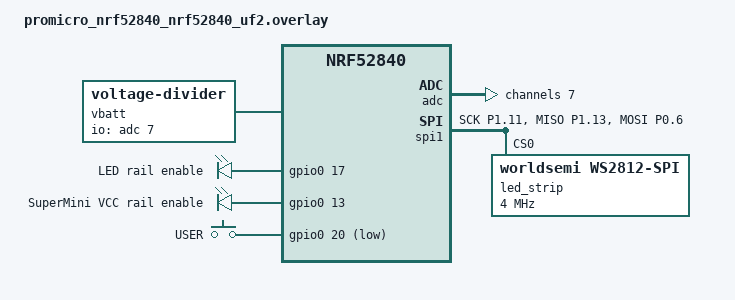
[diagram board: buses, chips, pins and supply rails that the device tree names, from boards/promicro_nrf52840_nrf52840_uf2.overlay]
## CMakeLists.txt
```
cmake_minimum_required(VERSION 3.20.0)
find_package(Zephyr REQUIRED HINTS $ENV{ZEPHYR_BASE})
project(thread_ring)

target_sources(app PRIVATE src/main.c src/sync.c src/genome.c src/social_scene.c
  src/groups.c src/group_engine.c
  src/app_state.c src/beacon_codec.c src/boot_status.c src/clock_estimator.c
  src/control_auth.c src/control_protocol.c src/group_policy.c src/heal_policy.c
  src/led_budget.c src/solo_mode.c src/always_on.c src/led_config.c src/led_layout.c src/led_power_mode.c src/network_mode.c
  src/network_mode_policy.c src/ota_policy.c
  src/ota_quiet.c
  src/usb_display.c src/usb_sleep.c
  src/peer_freshness.c src/peer_slot_policy.c src/sync_engine.c
  src/sync_schedule.c)

# main.c's DFU-mode hook dereferences struct img_mgmt_upload_req, whose full
# definition (img_mgmt.h) pulls in mcuboot's bootutil headers.
target_include_directories(app PRIVATE
  ${ZEPHYR_MCUBOOT_MODULE_DIR}/boot/bootutil/include
  ${ZEPHYR_MCUBOOT_MODULE_DIR}/boot/zephyr/include)
```

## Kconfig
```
mainmenu "Thread LED ring"

config THREAD_RING_BUILD_ID
	string "Git-derived build identifier"
	default "unknown"
	help
	  Generated by scripts/version_info.py. Included in remote telemetry and
	  release provenance; do not edit it in prj.conf.

config THREAD_RING_FORCE_ROLLBACK_TEST
	bool "Build an image that deliberately remains unconfirmed"
	default n
	help
	  Test-only fault injection. An unconfirmed image suppresses its normal
	  infrastructure-gated confirmation and reboots after eight seconds so
	  MCUboot must revert it. Never enable this in a release image.

config THREAD_RING_FORCE_NO_INFRA_TEST
	bool "Hide infrastructure from the OTA confirmation policy"
	default n
	help
	  Test-only fault injection. The device can attach and remain reachable,
	  but the normal confirmation policy is fed infrastructure_visible=false.
	  The shortened unconfirmed-image deadline then proves MCUboot rollback.
	  Never enable this in a release image.

config THREAD_RING_ESCAPE_HIL_BOOT_HANG
	bool "Build an image that hangs immediately after arming the watchdog"
	default n
	help
	  Test-only fault injection for the boot-recovery ladder bench gate
	  (docs/boot-recovery-ladder.md). The image spins forever right after
	  the early watchdog arm — the exact class of wedge drifting-owl-spark
	  died in — so each boot ends in a watchdog reset and MCUboot's escape
	  ladder must self-present the board as a UF2 drive (USB powered) or
	  park it in System OFF (battery) within ESCAPE_LADDER_MAX_ATTEMPTS
	  boots. Never enable this in a release image.

config THREAD_RING_HIL_FAULT_INJECTION
	bool "Enable physical-USB-only HIL fault injection"
	default n
	depends on SHELL
	help
	  Adds bounded application shell commands used by hardware-in-loop tests.
	  These commands are reachable only through the USB console, automatically
	  restore normal operation, and are compiled out of fleet images.

config THREAD_RING_CONTROL_PROVISIONING
	bool "Enable physical-USB control-key provisioning"
	default n
	depends on SHELL
	help
	  Adds a USB shell command that writes a per-device control key into the
	  settings partition. Enable only in provisioning images; fleet images
	  consume the key but contain no remote or shell key-management command.

source "Kconfig.zephyr"
```

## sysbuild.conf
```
# OTA: build MCUboot alongside the app. scripts/build_firmware.sh supplies the
# explicit signing key for fleet/provisioning builds; those profiles refuse to
# fall back to MCUboot's public development key.
SB_CONFIG_BOOTLOADER_MCUBOOT=y
```

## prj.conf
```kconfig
# thread-ring: stage 2 of the TIME-SYNC.md bring-up ladder.
# ring-test + OpenThread FTD joining the existing ring-net mesh, with a
# dashboard-compatible heartbeat. Patterns show Thread state: amber breathe
# while detached, genome families once attached.

CONFIG_GPIO=y
CONFIG_SPI=y
CONFIG_LED_STRIP=y

# SuperMini clones omit the 32.768 kHz crystal — RC or the kernel hangs.
CONFIG_CLOCK_CONTROL_NRF_K32SRC_RC=y
CONFIG_CLOCK_CONTROL_NRF_K32SRC_500PPM=y

# floating point for the pattern math (also required by mbedTLS); the sync
# engine does FP regression in its own thread, so share the FPU context.
CONFIG_FPU=y
CONFIG_FPU_SHARING=y

# --- Thread: FTD, rx-on-when-idle, join the existing Thread mesh ---
CONFIG_NETWORKING=y
CONFIG_NET_IPV6=y
CONFIG_NET_UDP=y
CONFIG_NET_SOCKETS=y
CONFIG_NET_L2_OPENTHREAD=y
CONFIG_OPENTHREAD_FTD=y
CONFIG_OPENTHREAD_THREAD_STACK_SIZE=6144
CONFIG_MAIN_STACK_SIZE=6144

# Thread network credentials. PLACEHOLDERS, not a real network: the key is
# the well-known example key 00112233445566778899aabbccddeeff, the PAN ID is
# 0xABCD and the extended PAN ID is the Zephyr default. Replace all three with
# your own before flashing anything you care about, keep the real values out
# of version control, and make them match your border router's dataset.
# See "Network credentials" in the top-level README.
CONFIG_OPENTHREAD_CHANNEL=15
CONFIG_OPENTHREAD_PANID=43981
CONFIG_OPENTHREAD_NETWORK_NAME="ring-net"
CONFIG_OPENTHREAD_NETWORKKEY="00:11:22:33:44:55:66:77:88:99:aa:bb:cc:dd:ee:ff"
CONFIG_OPENTHREAD_XPANID="de:ad:00:be:ef:00:ca:fe"

# persist Thread state across reboots (fast rejoin)
CONFIG_SETTINGS=y
CONFIG_FLASH=y
CONFIG_FLASH_MAP=y
CONFIG_NVS=y
CONFIG_SETTINGS_NVS=y

# USB CDC console + shell (ot commands!) + the 1200-baud-touch DFU entry
CONFIG_USB_DEVICE_STACK=y
CONFIG_USB_DEVICE_PRODUCT="thread-led-node thread-ring"
CONFIG_USB_CDC_ACM=y
# The carrier and LED rail are powered from USB VBUS, not from an independent
# self-powered source.  Request the USB 2.0 high-power ceiling so a managed
# host/hub does not keep the ring at the 100 mA default while the strip is on.
CONFIG_USB_SELF_POWERED=n
CONFIG_USB_MAX_POWER=250
# Start USB explicitly from main(), after the LED marker and watchdog.  The
# POST_KERNEL auto-init can wedge before main() after a warm nRF52840 reset.
CONFIG_USB_DEVICE_INITIALIZE_AT_BOOT=n
# Defer the driver's synthetic ATTACHED event after an MCUboot handoff. This
# keeps its unbounded hardware READY wait out of the regulator/host transition.
CONFIG_USB_NRFX_ATTACHED_EVENT_DELAY=250
CONFIG_CDC_ACM_DTE_RATE_CALLBACK_SUPPORT=y
CONFIG_SERIAL=y
CONFIG_CONSOLE=y
CONFIG_UART_CONSOLE=y
CONFIG_UART_LINE_CTRL=y
CONFIG_REBOOT=y
CONFIG_POWEROFF=y
CONFIG_SHELL=y
CONFIG_OPENTHREAD_SHELL=y

CONFIG_LOG=y
CONFIG_LOG_DEFAULT_LEVEL=3

CONFIG_BUILD_OUTPUT_UF2=y

# --- OTA: mcumgr SMP server over UDP :1337, A/B images via MCUboot ---
# Upload with smpmgr/mcumgr from any host that can reach the board's mesh
# address (the Pi). The app confirms itself after it sees border-router
# Network Data; an image that cannot reach infrastructure gets rolled back on
# the next reboot. This means an
# isolated ring-only partition cannot bless an unreachable test image.
# Image version and build identity are generated from Git by the supported
# build entry point; they intentionally do not live in this source config.
CONFIG_ZCBOR=y
CONFIG_MCUMGR=y
CONFIG_MCUMGR_TRANSPORT_UDP=y
CONFIG_MCUMGR_TRANSPORT_UDP_IPV6=y
CONFIG_MCUMGR_TRANSPORT_UDP_IPV4=n
CONFIG_MCUMGR_GRP_IMG=y
CONFIG_MCUMGR_GRP_OS=y
CONFIG_STREAM_FLASH=y
CONFIG_IMG_MANAGER=y
CONFIG_IMG_ERASE_PROGRESSIVELY=y

# DFU mode: mute own radio chatter + show progress arc during OTA upload
CONFIG_MCUMGR_GRP_IMG_UPLOAD_CHECK_HOOK=y
CONFIG_MCUMGR_MGMT_NOTIFICATION_HOOKS=y
CONFIG_WATCHDOG=y
CONFIG_HWINFO=y

# Battery sense on AIN7 (P0.31) — see boards/*_uf2.overlay for why this is
# experimental on SuperMini clones. The SAADC hardware is already present and
# the board dts enables &adc; this pulls in the driver so it can be read.
CONFIG_ADC=y
```

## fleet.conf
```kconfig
# Fleet size profile. The base prj.conf remains the bench/debug profile.
#
# Keep USB CDC enabled for 1200-baud UF2 entry, but remove the interactive
# shells and application logging. Fleet diagnostics remain available through
# structured heartbeats and the UDP status/group commands.

CONFIG_SHELL=n
CONFIG_OPENTHREAD_SHELL=n
CONFIG_LOG=n
CONFIG_BOOT_BANNER=n
```

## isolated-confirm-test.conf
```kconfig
# Phase 0 behavioral drill: stay attached/reachable while denying the OTA
# confirmation policy proof of border-router infrastructure.
CONFIG_THREAD_RING_FORCE_NO_INFRA_TEST=y
CONFIG_MCUBOOT_IMGTOOL_SIGN_VERSION="0.1.14"
```

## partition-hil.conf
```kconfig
# Signed canary-only overlay for a true Thread detach/rejoin drill.
# The bounded fault command is exposed only on the physical USB shell.
CONFIG_THREAD_RING_HIL_FAULT_INJECTION=y
CONFIG_SHELL=y
CONFIG_OPENTHREAD_SHELL=n
CONFIG_LOG=n
CONFIG_BOOT_BANNER=n
```

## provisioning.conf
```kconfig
# Physical-USB provisioning profile. The fleet fragment disables the shell;
# this later fragment re-enables only the application shell needed to install
# a per-device control key before returning to a fleet image.
CONFIG_SHELL=y
CONFIG_OPENTHREAD_SHELL=n
CONFIG_LOG=n
CONFIG_BOOT_BANNER=n
CONFIG_THREAD_RING_CONTROL_PROVISIONING=y
```

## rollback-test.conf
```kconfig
# Test-only overlay used by the Phase 1 hardware rollback drill.
CONFIG_THREAD_RING_FORCE_ROLLBACK_TEST=y
```

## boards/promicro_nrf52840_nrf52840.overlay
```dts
#include <zephyr/dt-bindings/led/led.h>

/* WS2812 transport capacity is 100 pixels; the persisted layout sends 100
 * (rope100), 16 (ring16), or 7 (jewel7). Keeping the transport at the maximum
 * also lets a layout change clear pixels beyond the new logical end. Data is
 * on P0.06 — the carrier board's LED_DATA_MCU net. SPIM MOSI generates the
 * 800 kHz waveform;
 * SCK/MISO are required by the peripheral so they're parked on unused
 * pins (P1.11 / P1.13 are not broken out on the SuperMini).
 */

&pinctrl {
	spi1_led_default: spi1_led_default {
		group1 {
			psels = <NRF_PSEL(SPIM_SCK, 1, 11)>,
				<NRF_PSEL(SPIM_MISO, 1, 13)>,
				<NRF_PSEL(SPIM_MOSI, 0, 6)>;
		};
	};
	spi1_led_sleep: spi1_led_sleep {
		group1 {
			psels = <NRF_PSEL(SPIM_SCK, 1, 11)>,
				<NRF_PSEL(SPIM_MISO, 1, 13)>,
				<NRF_PSEL(SPIM_MOSI, 0, 6)>;
			low-power-enable;
		};
	};
};

&spi1 {
	compatible = "nordic,nrf-spim";
	status = "okay";
	pinctrl-0 = <&spi1_led_default>;
	pinctrl-1 = <&spi1_led_sleep>;
	pinctrl-names = "default", "sleep";

	led_strip: ws2812@0 {
		compatible = "worldsemi,ws2812-spi";
		reg = <0>;
		spi-max-frequency = <4000000>;
		chain-length = <100>;
		color-mapping = <LED_COLOR_ID_GREEN
				 LED_COLOR_ID_RED
				 LED_COLOR_ID_BLUE>;
		spi-one-frame = <0x70>;
		spi-zero-frame = <0x40>;
	};
};

&usbd {
	cdc_acm_uart0: cdc_acm_uart0 {
		compatible = "zephyr,cdc-acm-uart";
	};
};

/ {
	chosen {
		zephyr,console = &cdc_acm_uart0;
	};

	aliases {
		led-strip = &led_strip;
		led-power = &led_power;
		module-vcc-power = &module_vcc_power;
	};

	led_power_ctrl {
		compatible = "gpio-leds";
		led_power: led_power {
			gpios = <&gpio0 17 GPIO_ACTIVE_HIGH>;
			label = "LED rail enable";
		};
	};

	module_vcc_power_ctrl {
		compatible = "gpio-leds";
		module_vcc_power: module_vcc_power {
			/* SuperMini/nice!nano clone switchable 3.3 V VCC output. */
			gpios = <&gpio0 13 GPIO_ACTIVE_HIGH>;
			label = "SuperMini VCC rail enable";
		};
	};

	buttons {
		compatible = "gpio-keys";
		user_button: button_0 {
			gpios = <&gpio0 20 (GPIO_PULL_UP | GPIO_ACTIVE_LOW)>;
			label = "USER";
		};
	};
};

/* The top 12 KiB of SRAM (0x2003d000..0x20040000) are reserved: the
 * escape-ladder boot-attempt state at 0x2003d000 (KEEP IN SYNC with
 * src/escape_ladder.h ESCAPE_LADDER_RAM_ADDR and the other overlays)
 * plus the native UF2 bootloader's stack, whose initial MSP is the top
 * of SRAM and which runs on every reset before MCUboot. Carving the
 * whole region out of sram0 keeps both images' stacks and heap clear of
 * the ladder and documents why the last 8 KiB are never trustworthy
 * across a reset anyway. */
&sram0 {
	reg = <0x20000000 0x3d000>;
};
```

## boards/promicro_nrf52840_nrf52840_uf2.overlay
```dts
#include <zephyr/dt-bindings/led/led.h>
#include <zephyr/dt-bindings/adc/adc.h>
#include <zephyr/dt-bindings/adc/nrf-adc.h>

/* Battery sense on AIN7 (P0.31).
 *
 * EXPERIMENTAL / UNCONFIRMED: the SuperMini nRF52840 clones used here are not
 * genuine nice!nano, and clone batches differ on whether the onboard battery
 * divider is populated. P0.31 is otherwise unused by this design (we drive
 * P0.06 LED data, P0.13 VCC rail, P0.17 LED rail, P0.20 button, P1.11/P1.13
 * parked SPI), so reading it is harmless either way.
 *
 * The status line reports the voltage AT THE PIN, deliberately unscaled, so a
 * reading can be interpreted rather than guessed at:
 *   ~half of VBAT (e.g. ~2.0 V on a 4.0 V cell) -> a 1:2 divider is present
 *   ~0 mV or drifting noise                     -> no divider populated
 * Only once a real divider is confirmed should this be scaled to a percentage.
 */
&adc {
	status = "okay";
	#address-cells = <1>;
	#size-cells = <0>;

	channel@7 {
		reg = <7>;
		zephyr,gain = "ADC_GAIN_1_6";
		zephyr,reference = "ADC_REF_INTERNAL";
		zephyr,acquisition-time = <ADC_ACQ_TIME_DEFAULT>;
		zephyr,input-positive = <NRF_SAADC_AIN7>;
		zephyr,resolution = <12>;
	};
};

/* WS2812 transport capacity is 100 pixels; the persisted layout sends 100
 * (rope100), 16 (ring16), or 7 (jewel7). Keeping the transport at the maximum
 * also lets a layout change clear pixels beyond the new logical end. Data is
 * on P0.06 — the carrier board's LED_DATA_MCU net. SPIM MOSI generates the
 * 800 kHz waveform;
 * SCK/MISO are required by the peripheral so they're parked on unused
 * pins (P1.11 / P1.13 are not broken out on the SuperMini).
 */

&pinctrl {
	spi1_led_default: spi1_led_default {
		group1 {
			psels = <NRF_PSEL(SPIM_SCK, 1, 11)>,
				<NRF_PSEL(SPIM_MISO, 1, 13)>,
				<NRF_PSEL(SPIM_MOSI, 0, 6)>;
		};
	};
	spi1_led_sleep: spi1_led_sleep {
		group1 {
			psels = <NRF_PSEL(SPIM_SCK, 1, 11)>,
				<NRF_PSEL(SPIM_MISO, 1, 13)>,
				<NRF_PSEL(SPIM_MOSI, 0, 6)>;
			low-power-enable;
		};
	};
};

&spi1 {
	compatible = "nordic,nrf-spim";
	status = "okay";
	pinctrl-0 = <&spi1_led_default>;
	pinctrl-1 = <&spi1_led_sleep>;
	pinctrl-names = "default", "sleep";

	led_strip: ws2812@0 {
		compatible = "worldsemi,ws2812-spi";
		reg = <0>;
		spi-max-frequency = <4000000>;
		chain-length = <100>;
		color-mapping = <LED_COLOR_ID_GREEN
				 LED_COLOR_ID_RED
				 LED_COLOR_ID_BLUE>;
		spi-one-frame = <0x70>;
		spi-zero-frame = <0x40>;
	};
};

/* USB CDC console: the board dts already provides board_cdc_acm_uart and
 * points zephyr,console at it — do NOT add a second CDC instance here.
 */

/ {
	vbatt: vbatt {
		/* io-channels only: the divider ratio is deliberately not
		 * declared, because it is not yet known whether one exists.
		 * See the AIN7 note above. */
		compatible = "voltage-divider";
		io-channels = <&adc 7>;
		output-ohms = <1000000>;
		full-ohms = <2000000>;
	};

	aliases {
		led-strip = &led_strip;
		led-power = &led_power;
		module-vcc-power = &module_vcc_power;
	};

	led_power_ctrl {
		compatible = "gpio-leds";
		led_power: led_power {
			gpios = <&gpio0 17 GPIO_ACTIVE_HIGH>;
			label = "LED rail enable";
		};
	};

	module_vcc_power_ctrl {
		compatible = "gpio-leds";
		module_vcc_power: module_vcc_power {
			/* SuperMini/nice!nano clone switchable 3.3 V VCC output. */
			gpios = <&gpio0 13 GPIO_ACTIVE_HIGH>;
			label = "SuperMini VCC rail enable";
		};
	};

	buttons {
		compatible = "gpio-keys";
		user_button: button_0 {
			gpios = <&gpio0 20 (GPIO_PULL_UP | GPIO_ACTIVE_LOW)>;
			label = "USER";
		};
	};
};

/* --- OTA (ota-thread branch): MCUboot chainloaded by the UF2 bootloader ---
 *
 * The stock uf2_sdv6 layout gives the app 792 kB at 0x26000. We split that
 * into MCUboot + A/B slots; storage stays put so Thread NVS identity
 * survives the migration, and the Adafruit UF2 bootloader at 0xf4000 is
 * never touched (double-tap reset remains the forever rescue path).
 *
 *   0x26000  48k  MCUboot        (node label boot_partition — what the
 *                                 UF2 bootloader jumps into)
 *   0x32000 372k  slot0          (running app, mcuboot header at +0)
 *   0x8f000 372k  slot1          (OTA staging)
 *   0xec000  32k  storage        (UNCHANGED address — Thread NVS)
 *   0xf4000  48k  UF2 bootloader (read-only, relabeled uf2_partition)
 *
 * KEEP IN SYNC with sysbuild/mcuboot.overlay (same map, duplicated because
 * the two images are separate builds).
 */

/delete-node/ &code_partition;
/delete-node/ &storage_partition;
/delete-node/ &boot_partition;

/ {
	chosen {
		zephyr,code-partition = &slot0_partition;
	};
};

&flash0 {
	partitions {
		boot_partition: partition@26000 {
			label = "mcuboot";
			reg = <0x00026000 0x0000c000>;
		};
		/* second label `code_partition` keeps the base dtsi's chosen
		 * reference resolvable after the /delete-node/ above */
		code_partition: slot0_partition: partition@32000 {
			label = "image-0";
			reg = <0x00032000 0x0005d000>;
		};
		slot1_partition: partition@8f000 {
			label = "image-1";
			reg = <0x0008f000 0x0005d000>;
		};
		storage_partition: partition@ec000 {
			label = "storage";
			reg = <0x000ec000 0x00008000>;
		};
		uf2_partition: partition@f4000 {
			label = "uf2-bootloader";
			read-only;
			reg = <0x000f4000 0x0000c000>;
		};
	};
};

/* The top 12 KiB of SRAM (0x2003d000..0x20040000) are reserved: the
 * escape-ladder boot-attempt state at 0x2003d000 (KEEP IN SYNC with
 * src/escape_ladder.h ESCAPE_LADDER_RAM_ADDR and the other overlays)
 * plus the native UF2 bootloader's stack, whose initial MSP is the top
 * of SRAM and which runs on every reset before MCUboot. Carving the
 * whole region out of sram0 keeps both images' stacks and heap clear of
 * the ladder and documents why the last 8 KiB are never trustworthy
 * across a reset anyway. */
&sram0 {
	reg = <0x20000000 0x3d000>;
};
```

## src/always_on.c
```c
#include "always_on.h"

#include <errno.h>
#include <stddef.h>
#include <string.h>
#include <zephyr/logging/log.h>
#include <zephyr/settings/settings.h>
#include <zephyr/sys/crc.h>
#include <zephyr/sys/util.h>

LOG_MODULE_REGISTER(always_on, LOG_LEVEL_INF);

/* Same magic/version/CRC shape as the solo-mode and LED power records. */
#define ALWAYS_ON_MAGIC 0x414c4f4eU /* "ALON" */
#define ALWAYS_ON_VERSION 1
#define ALWAYS_ON_KEY "ringalwayson/mode"

struct always_on_store {
	uint32_t magic;
	uint8_t version;
	uint8_t always_on;
	uint8_t reserved[2];
	uint32_t crc;
} __packed;

BUILD_ASSERT(sizeof(struct always_on_store) <= SETTINGS_MAX_VAL_LEN);

static bool active;
static bool ready;

static uint32_t store_crc(const struct always_on_store *value)
{
	return crc32_ieee((const uint8_t *)value,
			  offsetof(struct always_on_store, crc));
}

static bool store_valid(const struct always_on_store *value)
{
	return value->magic == ALWAYS_ON_MAGIC &&
	       value->version == ALWAYS_ON_VERSION &&
	       value->always_on <= 1U &&
	       value->crc == store_crc(value);
}

static int load_cb(const char *key, size_t len, settings_read_cb read_cb,
		   void *cb_arg, void *param)
{
	struct always_on_store *loaded = param;

	if (strcmp(key, "mode") != 0 || len != sizeof(*loaded)) {
		return 0;
	}
	if (read_cb(cb_arg, loaded, sizeof(*loaded)) != sizeof(*loaded)) {
		memset(loaded, 0, sizeof(*loaded));
	}
	return 1;
}

int always_on_init(void)
{
	int rc = settings_subsys_init();

	active = false;
	ready = false;
	if (rc != 0) {
		LOG_ERR("settings init for always-on failed: %d", rc);
		return rc;
	}
	struct always_on_store loaded = { 0 };

	rc = settings_load_subtree_direct("ringalwayson", load_cb, &loaded);
	if (rc == 0 && store_valid(&loaded)) {
		active = loaded.always_on != 0U;
	}
	ready = rc == 0;
	LOG_INF("always-on %s", active ? "on" : "off");
	return rc;
}

bool always_on_get(void)
{
	return active;
}

int always_on_set(bool always_on)
{
	if (!ready) {
		return -EAGAIN;
	}
	if (always_on == active) {
		return 0;
	}
	struct always_on_store updated = {
		.magic = ALWAYS_ON_MAGIC,
		.version = ALWAYS_ON_VERSION,
		.always_on = always_on ? 1U : 0U,
	};

	updated.crc = store_crc(&updated);
	int rc = settings_save_one(ALWAYS_ON_KEY, &updated, sizeof(updated));

	if (rc == 0) {
		active = always_on;
		LOG_INF("saved always-on %s", always_on ? "on" : "off");
	} else {
		LOG_ERR("always-on save failed: %d", rc);
	}
	return rc;
}
```

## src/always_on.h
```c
/* "This node is permanently powered" — persistent across reboots.
 *
 * A USB-powered node defaults to the quiet charging display (three green
 * pulses, then a very dim glow) because USB VBUS is the only charger-related
 * signal the MCU has, and a flower on a charger should not run its scene.
 * Some installs are powered from USB for good — a mains supply, a bench
 * rail — and for those the quiet display is simply the node never playing.
 *
 * With always-on set, USB presence no longer affects the display: the node
 * renders its normal scene whenever it has power, exactly as the externally
 * powered `rope100` layout already does. Nothing else about USB changes —
 * the knock-to-sleep gesture, the DFU entry and the control refusals that
 * key off VBUS are untouched.
 *
 * Persisted, because the condition is a property of how the node is
 * mounted, not of this boot. Absent or corrupt record means the default
 * (quiet on USB), which is the safer reading for a node whose history is
 * unknown.
 */

#pragma once

#include <stdbool.h>

/* Loads the stored flag; defaults to false when absent or corrupt. */
int always_on_init(void);

bool always_on_get(void);

/* Persists immediately: the next boot must see it. */
int always_on_set(bool always_on);
```

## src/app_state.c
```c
#include "app_state.h"

enum app_state app_state_select(const struct app_state_observation *observation)
{
	if (observation->now_ms < APP_STATE_BOOT_STATUS_MS) {
		return observation->recovery_boot ? APP_STATE_RECOVERY
						  : APP_STATE_BOOTING;
	}
	if (observation->dfu_active) {
		return APP_STATE_DFU;
	}
	if (!observation->attached) {
		return APP_STATE_SEARCHING;
	}
	return APP_STATE_HEALTHY;
}

void app_state_init(struct app_state_machine *machine,
		    const struct app_state_observation *observation)
{
	machine->current = app_state_select(observation);
	machine->entered_ms = observation->now_ms;
	machine->transitions = 0;
}

struct app_state_transition app_state_update(
	struct app_state_machine *machine,
	const struct app_state_observation *observation)
{
	struct app_state_transition transition = {
		.previous = machine->current,
		.current = app_state_select(observation),
		.entered_ms = machine->entered_ms,
		.changed = false,
	};

	if (transition.current != transition.previous) {
		machine->current = transition.current;
		machine->entered_ms = observation->now_ms;
		machine->transitions++;
		transition.entered_ms = machine->entered_ms;
		transition.changed = true;
	}
	return transition;
}

const char *app_state_name(enum app_state state)
{
	switch (state) {
	case APP_STATE_BOOTING:   return "booting";
	case APP_STATE_SEARCHING: return "searching";
	case APP_STATE_HEALTHY:   return "healthy";
	case APP_STATE_DFU:       return "dfu";
	case APP_STATE_RECOVERY:  return "recovery";
	default:                  return "unknown";
	}
}
```

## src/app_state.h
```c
#ifndef THREAD_RING_APP_STATE_H_
#define THREAD_RING_APP_STATE_H_

#include <stdbool.h>
#include <stdint.h>

#define APP_STATE_BOOT_STATUS_MS 2400

/* A border router is NOT part of the deployed topology — wearers form ad-hoc
 * meshes with no infrastructure at all. Rendering therefore never consults
 * border-router visibility; a node that is attached and out of DFU is HEALTHY
 * and shows its normal solo/group composite. Infrastructure visibility still
 * gates OTA image confirmation (see ota_policy.h), which is a genuinely
 * different question: "is this image remotely recoverable?" */
enum app_state {
	APP_STATE_BOOTING = 0,
	APP_STATE_SEARCHING,
	APP_STATE_HEALTHY,
	APP_STATE_DFU,
	APP_STATE_RECOVERY,
};

struct app_state_observation {
	int64_t now_ms;
	bool recovery_boot;
	bool attached;
	bool dfu_active;
};

struct app_state_machine {
	enum app_state current;
	int64_t entered_ms;
	uint32_t transitions;
};

struct app_state_transition {
	enum app_state previous;
	enum app_state current;
	int64_t entered_ms;
	bool changed;
};

enum app_state app_state_select(const struct app_state_observation *observation);
void app_state_init(struct app_state_machine *machine,
		    const struct app_state_observation *observation);
struct app_state_transition app_state_update(
	struct app_state_machine *machine,
	const struct app_state_observation *observation);
const char *app_state_name(enum app_state state);

#endif /* THREAD_RING_APP_STATE_H_ */
```

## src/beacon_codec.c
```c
#include "beacon_codec.h"

#include <stdbool.h>
#include <string.h>

#define LEGACY_MAGIC_V1 0x47535931U
#define LEGACY_MAGIC_V2 0x47535932U

#define V3_VERSION 3U

static const uint8_t v3_magic[4] = {'G', 'S', 'Y', '3'};

static void put_le32(uint8_t *out, uint32_t value)
{
	out[0] = (uint8_t)value;
	out[1] = (uint8_t)(value >> 8);
	out[2] = (uint8_t)(value >> 16);
	out[3] = (uint8_t)(value >> 24);
}

static uint32_t get_le32(const uint8_t *in)
{
	return (uint32_t)in[0] | ((uint32_t)in[1] << 8) | ((uint32_t)in[2] << 16) |
	       ((uint32_t)in[3] << 24);
}

static void put_le64(uint8_t *out, uint64_t value)
{
	put_le32(out, (uint32_t)value);
	put_le32(out + 4, (uint32_t)(value >> 32));
}

static uint64_t get_le64(const uint8_t *in)
{
	return (uint64_t)get_le32(in) | ((uint64_t)get_le32(in + 4) << 32);
}

static void put_be32(uint8_t *out, uint32_t value)
{
	out[0] = (uint8_t)(value >> 24);
	out[1] = (uint8_t)(value >> 16);
	out[2] = (uint8_t)(value >> 8);
	out[3] = (uint8_t)value;
}

static uint32_t get_be32(const uint8_t *in)
{
	return ((uint32_t)in[0] << 24) | ((uint32_t)in[1] << 16) |
	       ((uint32_t)in[2] << 8) | (uint32_t)in[3];
}

static void put_be64(uint8_t *out, uint64_t value)
{
	put_be32(out, (uint32_t)(value >> 32));
	put_be32(out + 4, (uint32_t)value);
}

static uint64_t get_be64(const uint8_t *in)
{
	return ((uint64_t)get_be32(in) << 32) | (uint64_t)get_be32(in + 4);
}

static int64_t signed_from_bits(uint64_t value)
{
	if ((value & (UINT64_C(1) << 63)) == 0U) {
		return (int64_t)value;
	}
	if (value == (UINT64_C(1) << 63)) {
		return INT64_MIN;
	}
	return -(int64_t)((~value) + 1U);
}

static int32_t signed32_from_bits(uint32_t value)
{
	if ((value & (UINT32_C(1) << 31)) == 0U) {
		return (int32_t)value;
	}
	if (value == (UINT32_C(1) << 31)) {
		return INT32_MIN;
	}
	return -(int32_t)((~value) + 1U);
}

static bool small_id_valid(uint8_t small_id)
{
	return small_id < 32U || small_id == BEACON_SMALL_ID_UNKNOWN;
}

static int32_t legacy_rate_to_ppb(float rate_ppm, bool *valid)
{
	/* The comparison also rejects NaN without depending on libm. */
	if (!(rate_ppm >= -10000.0F && rate_ppm <= 10000.0F)) {
		*valid = false;
		return 0;
	}
	float scaled = rate_ppm * 1000.0F;

	*valid = true;
	return (int32_t)(scaled >= 0.0F ? scaled + 0.5F : scaled - 0.5F);
}

static int decode_legacy(struct beacon_message *message, const uint8_t *wire,
			 size_t wire_size)
{
	if (wire_size != BEACON_LEGACY_V1_SIZE && wire_size != BEACON_LEGACY_V2_SIZE) {
		return BEACON_CODEC_INVALID;
	}
	uint32_t magic = get_le32(wire);
	uint8_t version;

	if (wire_size == BEACON_LEGACY_V1_SIZE && magic == LEGACY_MAGIC_V1) {
		version = 1U;
	} else if (wire_size == BEACON_LEGACY_V2_SIZE && magic == LEGACY_MAGIC_V2) {
		version = 2U;
	} else {
		return BEACON_CODEC_INVALID;
	}

	uint32_t rate_bits = get_le32(wire + 24);
	float rate_ppm;
	bool rate_valid;

	memcpy(&rate_ppm, &rate_bits, sizeof(rate_ppm));
	int32_t rate_ppb = legacy_rate_to_ppb(rate_ppm, &rate_valid);
	if (!rate_valid) {
		return BEACON_CODEC_INVALID;
	}

	*message = (struct beacon_message){
		.wire_version = version,
		.node_id = get_le32(wire + 4),
		.global_us = signed_from_bits(get_le64(wire + 8)),
		.raw_us = signed_from_bits(get_le64(wire + 16)),
		.rate_ppb = rate_ppb,
		.seed = get_le32(wire + 28),
		.small_id = BEACON_SMALL_ID_UNKNOWN,
	};
	if (version == 2U) {
		message->small_id = wire[32];
		message->view = get_le32(wire + 36);
		memcpy(message->ext, wire + 40, sizeof(message->ext));
		if (!small_id_valid(message->small_id)) {
			return BEACON_CODEC_INVALID;
		}
	}
	return BEACON_CODEC_OK;
}

int beacon_encode(uint8_t *out, size_t capacity, const struct beacon_message *message)
{
	if (out == NULL || message == NULL || !small_id_valid(message->small_id)) {
		return BEACON_CODEC_INVALID;
	}
	if (capacity < BEACON_WIRE_SIZE) {
		return BEACON_CODEC_NO_SPACE;
	}

	memset(out, 0, BEACON_WIRE_SIZE);
	memcpy(out, v3_magic, sizeof(v3_magic));
	out[4] = V3_VERSION;
	out[5] = BEACON_WIRE_SIZE;
	out[6] = 0U;
	out[7] = message->small_id;
	put_be32(out + 8, message->node_id);
	put_be64(out + 12, (uint64_t)message->global_us);
	put_be64(out + 20, (uint64_t)message->raw_us);
	put_be32(out + 28, (uint32_t)message->rate_ppb);
	put_be32(out + 32, message->seed);
	put_be32(out + 36, message->view);
	memcpy(out + 40, message->ext, sizeof(message->ext));

	return (int)BEACON_WIRE_SIZE;
}

int beacon_encode_legacy_v2(uint8_t *out, size_t capacity,
			    const struct beacon_message *message)
{
	if (out == NULL || message == NULL || !small_id_valid(message->small_id)) {
		return BEACON_CODEC_INVALID;
	}
	if (capacity < BEACON_LEGACY_V2_SIZE) {
		return BEACON_CODEC_NO_SPACE;
	}

	memset(out, 0, BEACON_LEGACY_V2_SIZE);
	put_le32(out, LEGACY_MAGIC_V2);
	put_le32(out + 4, message->node_id);
	put_le64(out + 8, (uint64_t)message->global_us);
	put_le64(out + 16, (uint64_t)message->raw_us);
	float legacy_rate_ppm = (float)message->rate_ppb / 1000.0F;
	uint32_t legacy_rate_bits;

	memcpy(&legacy_rate_bits, &legacy_rate_ppm, sizeof(legacy_rate_bits));
	put_le32(out + 24, legacy_rate_bits);
	put_le32(out + 28, message->seed);
	out[32] = message->small_id;
	put_le32(out + 36, message->view);
	memcpy(out + 40, message->ext, sizeof(message->ext));
	return (int)BEACON_LEGACY_V2_SIZE;
}

int beacon_decode(struct beacon_message *message, const uint8_t *wire, size_t wire_size)
{
	if (message == NULL || wire == NULL) {
		return BEACON_CODEC_INVALID;
	}
	if (wire_size == BEACON_LEGACY_V1_SIZE ||
	    (wire_size == BEACON_LEGACY_V2_SIZE && memcmp(wire, v3_magic, 4) != 0)) {
		return decode_legacy(message, wire, wire_size);
	}
	if (wire_size != BEACON_WIRE_SIZE || memcmp(wire, v3_magic, sizeof(v3_magic)) != 0 ||
	    wire[4] != V3_VERSION || wire[5] != BEACON_WIRE_SIZE || wire[6] != 0U ||
	    !small_id_valid(wire[7])) {
		return BEACON_CODEC_INVALID;
	}

	struct beacon_message decoded = {
		.wire_version = V3_VERSION,
		.node_id = get_be32(wire + 8),
		.global_us = signed_from_bits(get_be64(wire + 12)),
		.raw_us = signed_from_bits(get_be64(wire + 20)),
		.rate_ppb = signed32_from_bits(get_be32(wire + 28)),
		.seed = get_be32(wire + 32),
		.small_id = wire[7],
		.view = get_be32(wire + 36),
	};
	memcpy(decoded.ext, wire + 40, sizeof(decoded.ext));

	*message = decoded;
	return BEACON_CODEC_OK;
}
```

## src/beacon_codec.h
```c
/* Versioned, host-testable wire codec for clock/group gossip beacons. */

#ifndef THREAD_RING_BEACON_CODEC_H_
#define THREAD_RING_BEACON_CODEC_H_

#include <stddef.h>
#include <stdint.h>

#define BEACON_LEGACY_V1_SIZE 32U
#define BEACON_LEGACY_V2_SIZE 48U
#define BEACON_WIRE_SIZE 48U

#define BEACON_SMALL_ID_UNKNOWN UINT8_MAX

enum beacon_codec_result {
	BEACON_CODEC_OK = 0,
	BEACON_CODEC_INVALID = -1,
	BEACON_CODEC_NO_SPACE = -2,
};

struct beacon_message {
	uint8_t wire_version;
	uint32_t node_id;
	int64_t global_us;
	int64_t raw_us;
	int32_t rate_ppb;
	uint32_t seed;
	uint8_t small_id;
	uint32_t view;
	uint8_t ext[8];
};

/* Encode an explicitly versioned, network-byte-order v3 beacon. */
int beacon_encode(uint8_t *out, size_t capacity, const struct beacon_message *message);

/* Encode the legacy little-endian/IEEE-754 v2 representation during the
 * rolling migration from v0.1.17. Remove this after every node accepts v3. */
int beacon_encode_legacy_v2(uint8_t *out, size_t capacity,
			    const struct beacon_message *message);

/* Decode legacy v1/v2 packets or a v3 packet. */
int beacon_decode(struct beacon_message *message, const uint8_t *wire, size_t wire_size);

#endif
```

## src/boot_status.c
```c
#include "boot_status.h"

#include <errno.h>
#include <stdio.h>
#include <string.h>
#include <zephyr/kernel.h>
#include <zephyr/logging/log.h>
#include <zephyr/settings/settings.h>
#include <zephyr/sys/crc.h>
#include <zephyr/sys/util.h>

LOG_MODULE_REGISTER(boot_status, LOG_LEVEL_INF);

#define BOOT_STATUS_MAGIC 0x42535452U /* "BSTR" */
#define BOOT_STATUS_VERSION 2
#define BOOT_STATUS_EVENTS 8
#define BOOT_STATUS_KEY "ringboot/state"

struct boot_event {
	uint32_t boot;
	uint32_t uptime_ms;
	uint32_t reset_cause;
	uint8_t reboot_reason;
	uint8_t stage;
	uint8_t reserved[2];
} __packed;

struct boot_store {
	uint32_t magic;
	uint8_t version;
	uint8_t head;
	uint8_t count;
	uint8_t heal_attempts;   /* was: reserved. Old records read 0, which is
				  * the correct default, so no version bump. */
	uint32_t boot;
	struct boot_event events[BOOT_STATUS_EVENTS];
	uint32_t crc;
} __packed;

BUILD_ASSERT(sizeof(struct boot_store) <= SETTINGS_MAX_VAL_LEN);

static struct boot_store store;
static enum boot_stage current_stage;
static uint8_t current_mcuboot_phase;
static uint8_t current_mcuboot_detail;
static bool ready;

static uint32_t store_crc(const struct boot_store *value)
{
	return crc32_ieee((const uint8_t *)value,
			  offsetof(struct boot_store, crc));
}

static int load_cb(const char *key, size_t len, settings_read_cb read_cb,
		   void *cb_arg, void *param)
{
	struct boot_store *loaded = param;

	ARG_UNUSED(key);
	if (len != sizeof(*loaded)) {
		return 1;
	}
	if (read_cb(cb_arg, loaded, sizeof(*loaded)) != sizeof(*loaded)) {
		memset(loaded, 0, sizeof(*loaded));
	}
	return 1;
}

static bool store_valid(const struct boot_store *value)
{
	return value->magic == BOOT_STATUS_MAGIC &&
	       value->version == BOOT_STATUS_VERSION &&
	       value->head < BOOT_STATUS_EVENTS &&
	       value->count <= BOOT_STATUS_EVENTS &&
	       value->crc == store_crc(value);
}

static int save(void)
{
	store.crc = store_crc(&store);
	int rc = settings_save_one(BOOT_STATUS_KEY, &store, sizeof(store));

	if (rc != 0) {
		LOG_ERR("persistent boot breadcrumb save failed: %d", rc);
	}
	return rc;
}

int boot_status_init(uint32_t reset_cause, uint8_t reboot_reason,
		     uint8_t mcuboot_phase, uint8_t mcuboot_detail)
{
	int rc = settings_subsys_init();

	if (rc != 0) {
		LOG_ERR("settings init for boot breadcrumbs failed: %d", rc);
		return rc;
	}

	struct boot_store loaded = { 0 };

	rc = settings_load_subtree_direct(BOOT_STATUS_KEY, load_cb, &loaded);
	if (rc != 0 || !store_valid(&loaded)) {
		memset(&store, 0, sizeof(store));
		store.magic = BOOT_STATUS_MAGIC;
		store.version = BOOT_STATUS_VERSION;
	} else {
		store = loaded;
	}

	store.boot++;
	if (store.boot == 0) {
		store.boot = 1;
	}
	current_stage = 0;
	current_mcuboot_phase = mcuboot_phase;
	current_mcuboot_detail = mcuboot_detail;
	ready = true;

	struct boot_event *event = &store.events[store.head];

	memset(event, 0, sizeof(*event));
	event->boot = store.boot;
	event->reset_cause = reset_cause;
	event->reboot_reason = reboot_reason;
	event->stage = BOOT_STAGE_ENTRY;
	event->reserved[0] = mcuboot_phase;
	event->reserved[1] = mcuboot_detail;
	store.head = (store.head + 1) % BOOT_STATUS_EVENTS;
	store.count = MIN(store.count + 1, BOOT_STATUS_EVENTS);
	current_stage = BOOT_STAGE_ENTRY;

	rc = save();
	LOG_INF("boot breadcrumb %u: %s (reset %08x, reason %02x)",
		store.boot, boot_status_stage_name(current_stage), reset_cause,
		reboot_reason);
	return rc;
}

int boot_status_record(enum boot_stage stage)
{
	if (!ready) {
		return -EAGAIN;
	}
	if (stage <= current_stage || stage > BOOT_STAGE_CONFIRMED) {
		return 0;
	}

	struct boot_event *event = &store.events[store.head];

	memset(event, 0, sizeof(*event));
	event->boot = store.boot;
	event->uptime_ms = (uint32_t)k_uptime_get();
	event->stage = stage;
	store.head = (store.head + 1) % BOOT_STATUS_EVENTS;
	store.count = MIN(store.count + 1, BOOT_STATUS_EVENTS);
	current_stage = stage;
	LOG_INF("boot breadcrumb %u: %s at %u ms", store.boot,
		boot_status_stage_name(stage), event->uptime_ms);
	return save();
}

uint8_t boot_status_heal_attempts(void)
{
	return ready ? store.heal_attempts : 0;
}

/* Persisted rather than kept in RAM: the rejoin backoff has to survive the very
 * reboot it is counting. __noinit RAM does not -- MCUboot is chainloaded ahead
 * of the application and uses RAM itself -- so the counter read back as zero
 * every boot and the interval never grew past the first step. */
int boot_status_set_heal_attempts(uint8_t attempts)
{
	if (!ready || store.heal_attempts == attempts) {
		return 0;   /* never spend a flash write on an unchanged value */
	}
	store.heal_attempts = attempts;
	return save();
}

uint32_t boot_status_sequence(void)
{
	return ready ? store.boot : 0;
}

enum boot_stage boot_status_stage(void)
{
	return current_stage;
}

const char *boot_status_stage_name(enum boot_stage stage)
{
	switch (stage) {
	case BOOT_STAGE_ENTRY:          return "entry";
	case BOOT_STAGE_WATCHDOG:       return "watchdog";
	case BOOT_STAGE_USB_QUIESCED:   return "usb-quiesced";
	case BOOT_STAGE_USB:            return "usb";
	case BOOT_STAGE_ATTACHED:       return "attached";
	case BOOT_STAGE_INFRASTRUCTURE: return "infra";
	case BOOT_STAGE_CONFIRMED:      return "confirmed";
	default:                        return "none";
	}
}

static uint32_t escape_attempts;

void boot_status_note_escape_attempts(uint32_t attempts)
{
	escape_attempts = attempts;
}

int boot_status_format(char *buf, size_t len)
{
	int used = snprintf(buf, len,
			    "boot=%u stage=%s mcuboot=%02x/%02x ladder=%u trail=",
			    boot_status_sequence(),
			    boot_status_stage_name(current_stage),
			    current_mcuboot_phase, current_mcuboot_detail,
			    escape_attempts);

	if (used < 0 || (size_t)used >= len) {
		return -ENOSPC;
	}

	for (uint8_t i = 0; i < store.count; i++) {
		uint8_t idx = (store.head + BOOT_STATUS_EVENTS - store.count + i) %
			      BOOT_STATUS_EVENTS;
		const struct boot_event *event = &store.events[idx];
		int n = snprintf(buf + used, len - used, "%s%u:%s@%u",
				 i ? "," : "", event->boot,
				 boot_status_stage_name(event->stage),
				 event->uptime_ms);

		if (n < 0 || (size_t)n >= len - used) {
			return -ENOSPC;
		}
		used += n;
	}
	return used;
}
```

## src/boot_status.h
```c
#ifndef THREAD_RING_BOOT_STATUS_H_
#define THREAD_RING_BOOT_STATUS_H_

#include <stddef.h>
#include <stdint.h>

enum boot_stage {
	BOOT_STAGE_ENTRY = 1,
	BOOT_STAGE_WATCHDOG,
	BOOT_STAGE_USB_QUIESCED,
	BOOT_STAGE_USB,
	BOOT_STAGE_ATTACHED,
	BOOT_STAGE_INFRASTRUCTURE,
	BOOT_STAGE_CONFIRMED,
};

/* Start a new persistent boot record.  The state is deliberately tiny and
 * stored in the existing settings/NVS partition as one checksummed value. */
int boot_status_init(uint32_t reset_cause, uint8_t reboot_reason,
		     uint8_t mcuboot_phase, uint8_t mcuboot_detail);
int boot_status_record(enum boot_stage stage);
uint32_t boot_status_sequence(void);
/* Consecutive rejoin attempts, persisted because the backoff must outlive the
 * reboot it counts. Setting an unchanged value is a no-op (no flash write). */
uint8_t boot_status_heal_attempts(void);
int boot_status_set_heal_attempts(uint8_t attempts);
enum boot_stage boot_status_stage(void);
const char *boot_status_stage_name(enum boot_stage stage);
/* Escape-ladder failed-attempt count captured at main() entry, reported as
 * `ladder=N` in the boot reply so recovery evidence survives in telemetry. */
void boot_status_note_escape_attempts(uint32_t attempts);
int boot_status_format(char *buf, size_t len);

#endif
```

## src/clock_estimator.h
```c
/* Pure leaderless clock-estimator policy; no Zephyr or socket dependencies. */

#pragma once

#include <stdbool.h>
#include <stddef.h>
#include <stdint.h>

#define CLOCK_PHASE_SAMPLES 10
#define CLOCK_RAW_SAMPLES 40
/* Consensus vote capacity per update; matches the sync layer's
 * SYNC_MAX_PEERS (asserted where both headers meet in sync.c). */
#define CLOCK_ESTIMATOR_MAX_PEERS 23

struct clock_phase_sample {
	int64_t local_arrival_us;
	int64_t peer_global_us;
};

struct clock_raw_sample {
	int64_t local_arrival_us;
	int64_t peer_raw_us;
};

struct clock_peer_estimator {
	double their_h;
	float weight;
	struct clock_phase_sample phase[CLOCK_PHASE_SAMPLES];
	int phase_head;
	int phase_count;
	struct clock_raw_sample raw[CLOCK_RAW_SAMPLES];
	int raw_head;
	int raw_count;
	int64_t last_delta_us;
	bool locked;
};

struct clock_estimator {
	double h;
	double theta_us;
	int64_t epoch_us;
};

struct clock_estimator_config {
	int64_t phase_window_us;
	int64_t raw_window_us;
	double step_threshold_us;
	double step_drift_allowance;
	double window_disagreement_us;
	double snap_us;
	double deadband_us;
	double slew_us_per_s;
	double quiet_residual_us;
	double h_min;
	double h_max;
	int64_t lock_gate_us;
	int minimum_rate_samples;
	int64_t minimum_rate_span_us;
	double rate_gain;
	double alone_relax_gain;
	/* Below this much total vote weight the phase step is slew-only: a
	 * cold-booting node must not SNAP onto its very first voice (which
	 * could be a liar) before the trust ramp has vouched for anyone.
	 * One full member's weight is the quorum. */
	double snap_quorum_weight;
	/* Votes farther than this from the preliminary median are dropped —
	 * but only when they hold a MINORITY of the vote weight. A lone liar
	 * therefore cannot even bias the consensus quantile, while a
	 * long-split subgroup reuniting with half the weight still merges
	 * instead of the two sides rejecting each other forever. */
	double outlier_reject_us;
};

extern const struct clock_estimator_config clock_estimator_default_config;

struct clock_peer_input {
	struct clock_peer_estimator *peer;
	bool fresh;
};

void clock_estimator_init(struct clock_estimator *estimator,
			  int64_t local_now_us);
double clock_estimator_global_at(const struct clock_estimator *estimator,
				 int64_t local_us);
void clock_estimator_scramble(struct clock_estimator *estimator,
			      double offset_us);

void clock_peer_estimator_init(struct clock_peer_estimator *peer);
void clock_peer_estimator_set_weight(struct clock_peer_estimator *peer,
				     float weight);
void clock_peer_estimator_add_sample(
	struct clock_peer_estimator *peer,
	const struct clock_estimator_config *config, int64_t local_arrival_us,
	int64_t peer_global_us, int64_t peer_raw_us, double peer_h);

void clock_estimator_update(struct clock_estimator *estimator,
			    const struct clock_estimator_config *config,
			    struct clock_peer_input *inputs, size_t input_count,
			    int64_t local_now_us, int64_t dt_us);
```

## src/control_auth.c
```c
#include "control_auth.h"

#include <errno.h>
#include <mbedtls/md.h>
#include <string.h>
#include <zephyr/kernel.h>
#include <zephyr/logging/log.h>
#include <zephyr/settings/settings.h>
#include <zephyr/sys/crc.h>

LOG_MODULE_REGISTER(control_auth, LOG_LEVEL_INF);

#define CONTROL_AUTH_MAGIC 0x52415554U /* "RAUT" */
#define CONTROL_AUTH_VERSION 1
#define CONTROL_AUTH_SETTINGS_KEY "ringauth/state"

struct control_auth_store {
	uint32_t magic;
	uint8_t version;
	uint8_t reserved[3];
	uint8_t key[CONTROL_AUTH_KEY_BYTES];
	uint64_t sequence;
	uint8_t tag[CONTROL_AUTH_TAG_BYTES];
	uint32_t crc;
} __packed;

static struct control_auth_store store;
static bool ready;
K_MUTEX_DEFINE(auth_lock);

static uint32_t store_crc(const struct control_auth_store *value)
{
	return crc32_ieee((const uint8_t *)value,
			  offsetof(struct control_auth_store, crc));
}

static bool store_valid(const struct control_auth_store *value)
{
	return value->magic == CONTROL_AUTH_MAGIC &&
	       value->version == CONTROL_AUTH_VERSION &&
	       value->crc == store_crc(value);
}

static int load_cb(const char *key, size_t len, settings_read_cb read_cb,
		   void *cb_arg, void *param)
{
	struct control_auth_store *loaded = param;

	if (strcmp(key, "state") != 0 || len != sizeof(*loaded)) {
		return 0;
	}
	if (read_cb(cb_arg, loaded, sizeof(*loaded)) != sizeof(*loaded)) {
		memset(loaded, 0, sizeof(*loaded));
	}
	return 1;
}

static int save(struct control_auth_store *value)
{
	value->crc = store_crc(value);
	return settings_save_one(CONTROL_AUTH_SETTINGS_KEY, value, sizeof(*value));
}

static bool constant_time_equal(const uint8_t *left, const uint8_t *right,
				size_t length)
{
	uint8_t difference = 0;

	for (size_t index = 0; index < length; index++) {
		difference |= left[index] ^ right[index];
	}
	return difference == 0;
}

static int calculate_tag(const uint8_t key[CONTROL_AUTH_KEY_BYTES],
			 const void *message, size_t message_length,
			 uint8_t tag[CONTROL_AUTH_TAG_BYTES])
{
	const mbedtls_md_info_t *info =
		mbedtls_md_info_from_type(MBEDTLS_MD_SHA256);
	uint8_t digest[32];

	if (info == NULL) {
		return -ENOTSUP;
	}
	int rc = mbedtls_md_hmac(info, key, CONTROL_AUTH_KEY_BYTES, message,
				 message_length, digest);

	if (rc == 0) {
		memcpy(tag, digest, CONTROL_AUTH_TAG_BYTES);
	}
	memset(digest, 0, sizeof(digest));
	return rc;
}

int control_auth_init(void)
{
	int rc = settings_subsys_init();

	if (rc != 0) {
		LOG_ERR("settings init for control authentication failed: %d", rc);
		return rc;
	}
	struct control_auth_store loaded = { 0 };

	rc = settings_load_subtree_direct("ringauth", load_cb, &loaded);
	k_mutex_lock(&auth_lock, K_FOREVER);
	if (rc == 0 && store_valid(&loaded)) {
		store = loaded;
		ready = true;
		LOG_INF("control authentication ready at sequence %llu",
			(unsigned long long)store.sequence);
	} else {
		memset(&store, 0, sizeof(store));
		ready = false;
		LOG_WRN("control authentication is unprovisioned; mutations disabled");
	}
	k_mutex_unlock(&auth_lock);
	memset(&loaded, 0, sizeof(loaded));
	return rc;
}

bool control_auth_ready(void)
{
	k_mutex_lock(&auth_lock, K_FOREVER);
	bool result = ready;
	k_mutex_unlock(&auth_lock);
	return result;
}

uint64_t control_auth_sequence(void)
{
	k_mutex_lock(&auth_lock, K_FOREVER);
	uint64_t result = ready ? store.sequence : 0;
	k_mutex_unlock(&auth_lock);
	return result;
}

enum control_auth_result control_auth_authorize(
	const void *message, size_t message_length, uint64_t sequence,
	const uint8_t tag[CONTROL_AUTH_TAG_BYTES])
{
	uint8_t calculated[CONTROL_AUTH_TAG_BYTES];
	enum control_auth_result result;

	k_mutex_lock(&auth_lock, K_FOREVER);
	if (!ready) {
		result = CONTROL_AUTH_UNPROVISIONED;
		goto out;
	}
	if (calculate_tag(store.key, message, message_length, calculated) != 0) {
		result = CONTROL_AUTH_CRYPTO_ERROR;
		goto out;
	}
	if (!constant_time_equal(calculated, tag, sizeof(calculated))) {
		result = CONTROL_AUTH_BAD_TAG;
		goto clear;
	}
	if (sequence < store.sequence ||
	    (sequence == store.sequence &&
	     !constant_time_equal(tag, store.tag, sizeof(store.tag)))) {
		result = CONTROL_AUTH_REPLAY;
		goto clear;
	}
	if (sequence == store.sequence) {
		result = CONTROL_AUTH_ACCEPT_DUPLICATE;
		goto clear;
	}
	struct control_auth_store updated = store;

	updated.sequence = sequence;
	memcpy(updated.tag, tag, sizeof(updated.tag));
	if (save(&updated) != 0) {
		result = CONTROL_AUTH_STORAGE_ERROR;
		goto clear;
	}
	store = updated;
	result = CONTROL_AUTH_ACCEPT_NEW;

clear:
	memset(calculated, 0, sizeof(calculated));
out:
	k_mutex_unlock(&auth_lock);
	return result;
}

int control_auth_sign(const void *message, size_t message_length,
		      uint8_t tag[CONTROL_AUTH_TAG_BYTES])
{
	k_mutex_lock(&auth_lock, K_FOREVER);
	int rc = ready ? calculate_tag(store.key, message, message_length, tag)
		       : -EACCES;
	k_mutex_unlock(&auth_lock);
	return rc;
}

const char *control_auth_result_name(enum control_auth_result result)
{
	switch (result) {
	case CONTROL_AUTH_ACCEPT_NEW: return "ok";
	case CONTROL_AUTH_ACCEPT_DUPLICATE: return "duplicate";
	case CONTROL_AUTH_UNPROVISIONED: return "auth_unprovisioned";
	case CONTROL_AUTH_BAD_TAG: return "auth_failed";
	case CONTROL_AUTH_REPLAY: return "replay";
	case CONTROL_AUTH_STORAGE_ERROR: return "auth_storage";
	case CONTROL_AUTH_CRYPTO_ERROR: return "auth_crypto";
	default: return "auth_error";
	}
}

static int hex_nibble(char value)
{
	if (value >= '0' && value <= '9') {
		return value - '0';
	}
	if (value >= 'a' && value <= 'f') {
		return value - 'a' + 10;
	}
	if (value >= 'A' && value <= 'F') {
		return value - 'A' + 10;
	}
	return -1;
}

int control_auth_provision_hex(const char *hex_key)
{
	if (strlen(hex_key) != CONTROL_AUTH_KEY_BYTES * 2) {
		return -EINVAL;
	}
	struct control_auth_store provisioned = {
		.magic = CONTROL_AUTH_MAGIC,
		.version = CONTROL_AUTH_VERSION,
	};

	for (size_t index = 0; index < CONTROL_AUTH_KEY_BYTES; index++) {
		int high = hex_nibble(hex_key[index * 2]);
		int low = hex_nibble(hex_key[index * 2 + 1]);

		if (high < 0 || low < 0) {
			memset(&provisioned, 0, sizeof(provisioned));
			return -EINVAL;
		}
		provisioned.key[index] = (uint8_t)((high << 4) | low);
	}

	k_mutex_lock(&auth_lock, K_FOREVER);
	int rc = save(&provisioned);

	if (rc == 0) {
		store = provisioned;
		ready = true;
		LOG_INF("control authentication key provisioned; sequence reset");
	}
	k_mutex_unlock(&auth_lock);
	memset(&provisioned, 0, sizeof(provisioned));
	return rc;
}
```

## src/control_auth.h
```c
/* Persistent authentication and replay protection for UDP mutations. */

#pragma once

#include <stdbool.h>
#include <stddef.h>
#include <stdint.h>

#include "control_protocol.h"

#define CONTROL_AUTH_KEY_BYTES 32

enum control_auth_result {
	CONTROL_AUTH_ACCEPT_NEW,
	CONTROL_AUTH_ACCEPT_DUPLICATE,
	CONTROL_AUTH_UNPROVISIONED,
	CONTROL_AUTH_BAD_TAG,
	CONTROL_AUTH_REPLAY,
	CONTROL_AUTH_STORAGE_ERROR,
	CONTROL_AUTH_CRYPTO_ERROR,
};

int control_auth_init(void);
bool control_auth_ready(void);
uint64_t control_auth_sequence(void);
enum control_auth_result control_auth_authorize(
	const void *message, size_t message_length, uint64_t sequence,
	const uint8_t tag[CONTROL_AUTH_TAG_BYTES]);
int control_auth_sign(const void *message, size_t message_length,
		      uint8_t tag[CONTROL_AUTH_TAG_BYTES]);
const char *control_auth_result_name(enum control_auth_result result);
int control_auth_provision_hex(const char *hex_key);
```
